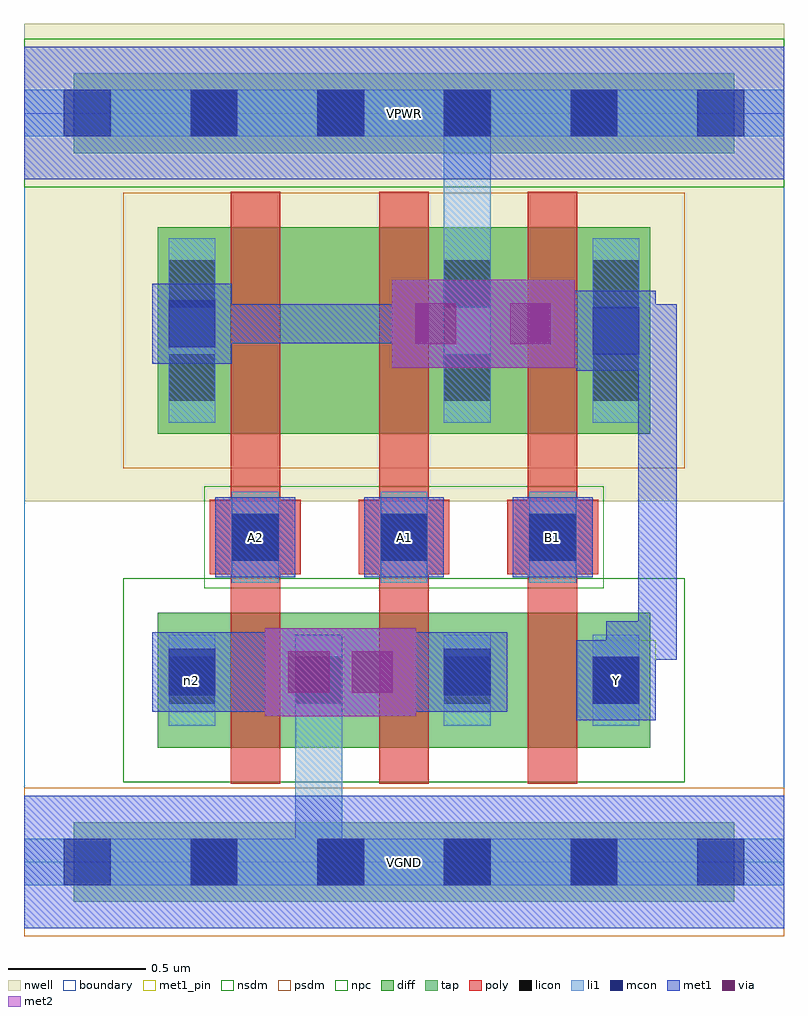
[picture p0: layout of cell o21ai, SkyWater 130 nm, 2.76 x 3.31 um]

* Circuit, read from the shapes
.subckt o21ai A1 A2 B1 VGND VPWR Y n2
XM1 VGND A2 n2 VGND sky130_fd_pr__nfet_01v8 w=0.49 l=0.18
XM2 n2 A1 VGND VGND sky130_fd_pr__nfet_01v8 w=0.49 l=0.18
XM3 Y B1 n2 VGND sky130_fd_pr__nfet_01v8 w=0.49 l=0.18
XM4 n1 A2 Y VPWR sky130_fd_pr__pfet_01v8 w=0.75 l=0.18
XM5 VPWR A1 n1 VPWR sky130_fd_pr__pfet_01v8 w=0.75 l=0.18
XM6 Y B1 VPWR VPWR sky130_fd_pr__pfet_01v8 w=0.75 l=0.18
.ends

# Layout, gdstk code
import gdstk
lib = gdstk.Library(unit=1e-6, precision=1e-09)
def R(c, l, rs):  # rectangles x0, y0, x1, y1
    for r in rs: c.add(gdstk.rectangle(r[:2], r[2:], *l))
def A(c, l, x, y, w, h, nx, ny, dx, dy):  # array of equal rectangles
    R(c, l, [(x+i*dx, y+j*dy, x+i*dx+w, y+j*dy+h) for i in range(nx) for j in range(ny)])
nwell = (64, 20)
diff = (65, 20)
tap = (65, 44)
poly = (66, 20)
licon = (66, 44)
li1 = (67, 20)
mcon = (67, 44)
met1_pin = (68, 16)
met1 = (68, 20)
via = (68, 44)
met2 = (69, 20)
nsdm = (93, 44)
psdm = (94, 20)
npc = (95, 20)
boundary = (235, 4)

o21ai = lib.new_cell('o21ai')
R(o21ai, nwell, [(0,1.31,2.76,3.045)])
R(o21ai, diff, [(0.485,0.415,2.275,0.905), (0.485,1.555,2.275,2.305)])
R(o21ai, tap, [(0.18,-0.145,2.58,0.145), (0.18,2.575,2.58,2.865)])
A(o21ai, poly, 0.75, 0.285, 0.18, 2.15, 3, 1, 0.54, 0)
A(o21ai, poly, 0.675, 1.045, 0.33, 0.27, 3, 1, 0.54, 0)
A(o21ai, licon, 0.605, -0.085, 0.17, 0.17, 4, 2, 0.46, 2.72)
A(o21ai, licon, 0.985, 0.575, 0.17, 0.17, 3, 1, 0.54, 0)
A(o21ai, licon, 0.755, 1.095, 0.17, 0.17, 3, 1, 0.54, 0)
R(o21ai, licon, [(0.525,0.575,0.695,0.745), (0.525,1.675,0.695,1.845), (1.525,1.675,1.695,1.845), (2.065,1.675,2.235,1.845), (0.525,2.015,0.695,2.185), (1.525,2.015,1.695,2.185), (2.065,2.015,2.235,2.185)])
A(o21ai, li1, 0.985, 0.495, 0.17, 0.33, 3, 1, 0.54, 0)
A(o21ai, li1, 0.755, 1.015, 0.17, 0.33, 3, 1, 0.54, 0)
R(o21ai, li1, [(0,-0.085,2.76,0.085), (0.985,-0.085,1.155,0.825), (0.525,0.495,0.695,0.825), (0.525,1.595,0.695,2.265), (1.525,1.595,1.695,2.265), (1.525,1.595,1.695,2.805), (2.065,1.595,2.235,2.265), (0,2.635,2.76,2.805)])
A(o21ai, mcon, 0.145, -0.085, 0.17, 0.17, 6, 2, 0.46, 2.72)
A(o21ai, mcon, 0.755, 1.095, 0.17, 0.17, 3, 1, 0.54, 0)
R(o21ai, mcon, [(2.065,0.575,2.235,0.745), (0.525,0.605,0.695,0.775), (1.525,0.605,1.695,0.775), (2.065,1.845,2.235,2.015), (0.525,1.87,0.695,2.04)])
A(o21ai, met1_pin, 0.695, 1.035, 0.29, 0.29, 3, 1, 0.54, 0)
R(o21ai, met1_pin, [(0,-0.24,2.76,0.24), (2.005,0.515,2.295,0.805), (0,2.48,2.76,2.96)])
A(o21ai, met1, 0.695, 1.035, 0.29, 0.29, 3, 1, 0.54, 0)
R(o21ai, met1, [(0,-0.24,2.76,0.24), (2.005,0.515,2.295,0.805), (0.875,0.53,1.195,0.85), (1.105,0.53,1.425,0.85), (0.465,0.545,0.755,0.835), (0.755,0.545,0.875,0.835), (1.425,0.545,1.465,0.835), (1.465,0.545,1.755,0.835), (0.54,0.62,0.875,0.76), (0.735,0.62,1.105,0.76), (1.195,0.62,1.68,0.76), (2.115,0.62,2.255,0.76), (2.115,0.62,2.255,0.875), (2.115,0.735,2.37,0.875), (2.23,0.735,2.37,2.025), (2.005,1.785,2.295,2.075), (1.335,1.795,1.655,2.115), (1.655,1.795,1.68,2.115), (1.68,1.795,2,2.115), (2,1.795,2.005,2.075), (0.465,1.81,0.755,2.1), (0.54,1.885,0.875,2.025), (0.735,1.885,1.565,2.025), (1.565,1.885,1.68,2.025), (1.655,1.885,1.77,2.025), (1.77,1.885,2.255,2.025), (2.115,1.885,2.255,2.025), (2.115,1.885,2.37,2.025), (0,2.48,2.76,2.96)])
R(o21ai, via, [(0.96,0.615,1.11,0.765), (1.19,0.615,1.34,0.765), (1.42,1.88,1.57,2.03), (1.765,1.88,1.915,2.03)])
R(o21ai, met2, [(0.875,0.53,1.195,0.85), (1.105,0.53,1.425,0.85), (0.965,0.62,1.335,0.76), (1.335,1.795,1.655,2.115), (1.655,1.795,1.68,2.115), (1.68,1.795,2,2.115), (1.425,1.885,1.91,2.025)])
R(o21ai, nsdm, [(0.36,0.29,2.4,1.03), (0,2.45,2.76,2.99)])
R(o21ai, psdm, [(0,-0.27,2.76,0.27), (0.36,1.43,2.4,2.43)])
R(o21ai, npc, [(0.655,0.995,2.105,1.365)])
R(o21ai, boundary, [(0,0,2.76,2.72)])
o21ai.add(gdstk.Label('n2', (0.61,0.66), layer=67, texttype=5))
o21ai.add(gdstk.Label('A1', (1.38,1.18), layer=68, texttype=5))
o21ai.add(gdstk.Label('A2', (0.84,1.18), layer=68, texttype=5))
o21ai.add(gdstk.Label('B1', (1.92,1.18), layer=68, texttype=5))
o21ai.add(gdstk.Label('Y', (2.15,0.66), layer=68, texttype=5))
o21ai.add(gdstk.Label('VPWR', (1.38,2.72), layer=68, texttype=5))
o21ai.add(gdstk.Label('VGND', (1.38,0), layer=68, texttype=5))
o21ai.add(gdstk.Label('A1', (1.38,1.18), layer=68, texttype=16))
o21ai.add(gdstk.Label('A2', (0.84,1.18), layer=68, texttype=16))
o21ai.add(gdstk.Label('B1', (1.92,1.18), layer=68, texttype=16))
o21ai.add(gdstk.Label('Y', (2.15,0.66), layer=68, texttype=16))
o21ai.add(gdstk.Label('VPWR', (1.38,2.72), layer=68, texttype=16))
o21ai.add(gdstk.Label('VGND', (1.38,0), layer=68, texttype=16))

lib.write_gds('o21ai.gds')
